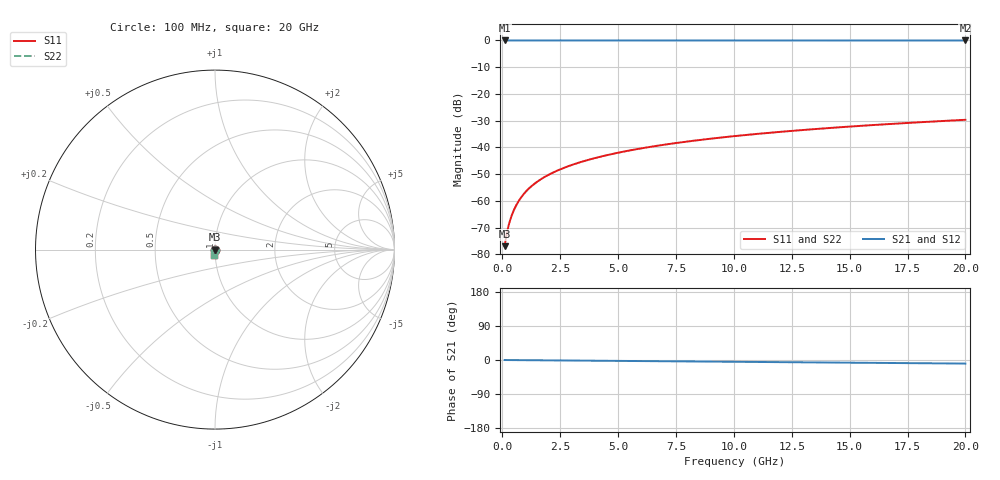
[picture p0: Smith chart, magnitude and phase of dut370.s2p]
! Touchstone file exported from HFSS 2026.1.0
!  File:  C:/ffzhzh/LocalFiles/Ansys_Project_Files/temp_train_TSV_370_1783019546_55676.aedt
!  Generated:  03:14:03 AM Jul  3, 2026
!  Design:  TSV
!  Project:  temp_train_TSV_370_1783019546_55676
! Variables:
!  h_bsmrdl = 2um
!  h_ox = 20um
!  h_rdl = 5um
!  h_sub = 94.72um
!  h_tmrdl = 5um
!  h_tsv = 94.72um
!  h_via = 3um
!  l_bsmrdl = 300um
!  l_sub = 429.8um
!  l_tmrdl = 200um
!  m_sub = 200um
!  pitch = 49.36um
!  r_tsv = 14.9um
!  s_tmrdl = 10um
!  w_bsmrdl = 18um
!  w_sub = 500um
!  w_tmrdl = 12um
!  x_tsv_center1 = 206um
!  x_tsv_center2 = 524um
!  x_tsv_center3 = 736um
!  x_tsv_center4 = 1054um
!  x_tsv_center5 = 1266um
!  x_tsv_center6 = 1584um
# GHz S MA R 50.000000
! Terminal data exported
! Port[1] = TSV1_1_T1
! Port[2] = TSV1_1_T2
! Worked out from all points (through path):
!   200 points, 100 MHz to 20 GHz, reference 50 ohm
!   highest |S21| = 0.00 dB at 100 MHz (marker M1); lowest = 0.0 dB at 20 GHz (marker M2)
!   group delay of S21, straight-line fit = 1.3 ps
!   lowest |S11| = -77.0 dB at 100 MHz (marker M3), VSWR 1.00, Z = 50 - j0.0115 ohm
!   |S11| at or under -10 dB: start of sweep to end of sweep
!   |S22| runs from -77.0 to -29.7 dB; largest |S21 - S12| = 4.2e-15
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0.1  0.0001418 -54.1  0.9999 -0.0  0.9999 -0.0  0.0001418 -54.1
! Gamma 0 0 0 0
! Port Impedance 50 0 50 0
0.2  0.0002554 -66.9  0.9999 -0.1  0.9999 -0.1  0.0002554 -66.9
0.3  0.0003839 -71.1  0.9999 -0.1  0.9999 -0.1  0.0003839 -71.1
0.4  0.0005229 -73.2  0.9998 -0.2  0.9998 -0.2  0.0005229 -73.2
0.5  0.00067 -74.6  0.9998 -0.2  0.9998 -0.2  0.00067 -74.6
0.7  0.0009792 -76.7  0.9998 -0.3  0.9998 -0.3  0.0009792 -76.7
0.8  0.001138 -77.6  0.9997 -0.4  0.9997 -0.4  0.001138 -77.6
1  0.001459 -79.2  0.9997 -0.5  0.9997 -0.5  0.001459 -79.2
1.2  0.001782 -80.5  0.9997 -0.6  0.9997 -0.6  0.001782 -80.5
1.4  0.002105 -81.6  0.9997 -0.7  0.9997 -0.7  0.002105 -81.6
1.7  0.002589 -82.9  0.9996 -0.8  0.9996 -0.8  0.002589 -82.9
2  0.003072 -83.8  0.9996 -1.0  0.9996 -1.0  0.003072 -83.8
2.7  0.0042 -85.4  0.9996 -1.3  0.9996 -1.3  0.0042 -85.4
3.5  0.005493 -86.6  0.9995 -1.7  0.9995 -1.7  0.005493 -86.6
4.2  0.006631 -87.4  0.9995 -2.0  0.9995 -2.0  0.006631 -87.4
5  0.007938 -88.2  0.9994 -2.4  0.9994 -2.4  0.007938 -88.2
6.8  0.0109 -89.6  0.9993 -3.2  0.9993 -3.2  0.0109 -89.6
8.3  0.01338 -90.7  0.9992 -3.9  0.9992 -3.9  0.01338 -90.7
10.1  0.01636 -91.9  0.999 -4.8  0.999 -4.8  0.01636 -91.9
13.4  0.02183 -93.8  0.9988 -6.3  0.9988 -6.3  0.02183 -93.8
16.7  0.02731 -95.6  0.9986 -7.9  0.9986 -7.9  0.02731 -95.6
20  0.0328 -97.4  0.9983 -9.4  0.9983 -9.4  0.0328 -97.4
